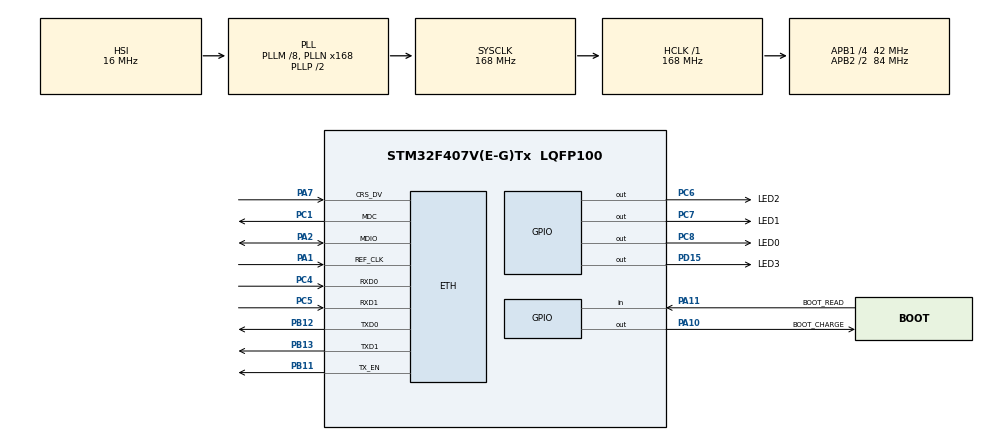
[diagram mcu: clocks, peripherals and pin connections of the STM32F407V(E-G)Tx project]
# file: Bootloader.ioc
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ETH.MediaInterface=HAL_ETH_RMII_MODE
ETH.PHY_DUPLEX_STATUS=0x0010
ETH.PHY_ISFR_INT4=0x0010
ETH.PHY_Name_RMII=LAN8742A_PHY_ADDRESS
ETH.PHY_SPEED_STATUS=0x0004
ETH.PHY_SR=0x1F
ETH.PhyAddress=0
FREERTOS.Tasks01=defaultTask,-2,128,StartDefaultTask,Default,NULL,Dynamic,NULL,NULL
FREERTOS.configMAX_PRIORITIES=16
FREERTOS.configMINIMAL_STACK_SIZE=128
FREERTOS.configUSE_NEWLIB_REENTRANT=1
LWIP.BSP.number=1
LWIP.GATEWAY_ADDRESS=192.168.050.001
LWIP.IP_ADDRESS=192.168.050.010
LWIP.LWIP_DHCP=0
LWIP.LWIP_HTTPD=0
LWIP.LWIP_STATS=1
LWIP.LWIP_TFTP=0
LWIP.NETMASK_ADDRESS=255.255.255.000
LWIP.Version=v2.1.2_Cube
LWIP0.BSP.STBoard=false
LWIP0.BSP.api=BSP_COMPONENT_DRIVER
LWIP0.BSP.component=LAN8742
LWIP0.BSP.instance=LAN8742
LWIP0.BSP.name=Driver_PHY
LWIP0.BSP.semaphore=S_LAN8742
LWIP0.BSP.solution=LAN8742
Mcu.Family=STM32F4
Mcu.Name=STM32F407V(E-G)Tx
Mcu.Package=LQFP100
NVIC.ETH_IRQn=true\:5\:0\:false\:false\:true\:true\:false\:true\:true
NVIC.PriorityGroup=NVIC_PRIORITYGROUP_4
NVIC.TIM6_DAC_IRQn=true\:15\:0\:false\:false\:true\:false\:false\:true\:true
NVIC.TimeBase=TIM6_DAC_IRQn
NVIC.TimeBaseIP=TIM6
PA1.Mode=RMII
PA1.Signal=ETH_REF_CLK
PA10.GPIO_Label=BOOT_CHARGE
PA10.Signal=GPIO_Output
PA11.GPIO_Label=BOOT_READ
PA11.Signal=GPIO_Input
PA13.Mode=Trace_Asynchronous_SW
PA13.Signal=SYS_JTMS-SWDIO
PA14.Mode=Trace_Asynchronous_SW
PA14.Signal=SYS_JTCK-SWCLK
PA2.Mode=RMII
PA2.Signal=ETH_MDIO
PA7.Mode=RMII
PA7.Signal=ETH_CRS_DV
PB11.Mode=RMII
PB11.Signal=ETH_TX_EN
PB12.Mode=RMII
PB12.Signal=ETH_TXD0
PB13.Mode=RMII
PB13.Signal=ETH_TXD1
PB3.Mode=Trace_Asynchronous_SW
PB3.Signal=SYS_JTDO-SWO
PC1.Mode=RMII
PC1.Signal=ETH_MDC
PC4.Mode=RMII
PC4.Signal=ETH_RXD0
PC5.Mode=RMII
PC5.Signal=ETH_RXD1
PC6.GPIO_Label=LED2
PC6.Signal=GPIO_Output
PC7.GPIO_Label=LED1
PC7.Signal=GPIO_Output
PC8.GPIO_Label=LED0
PC8.Signal=GPIO_Output
PD15.GPIO_Label=LED3
PD15.Signal=GPIO_Output
PH0-OSC_IN.Mode=HSE-External-Clock-Source
PH0-OSC_IN.Signal=RCC_OSC_IN
PH1-OSC_OUT.Mode=HSE-External-Clock-Source
PH1-OSC_OUT.Signal=RCC_OSC_OUT
ProjectManager.HeapSize=0x10000
ProjectManager.StackSize=0x400
ProjectManager.TargetToolchain=STM32CubeIDE
RCC.48MHZClocksFreq_Value=84000000
RCC.AHBFreq_Value=168000000
RCC.APB1CLKDivider=RCC_HCLK_DIV4
RCC.APB1Freq_Value=42000000
RCC.APB1TimFreq_Value=84000000
RCC.APB2CLKDivider=RCC_HCLK_DIV2
RCC.APB2Freq_Value=84000000
RCC.APB2TimFreq_Value=168000000
RCC.CortexFreq_Value=168000000
RCC.HCLKFreq_Value=168000000
RCC.HSE_VALUE=50000000
RCC.HSI_VALUE=16000000
RCC.LSE_VALUE=32768
RCC.PLLM=8
RCC.PLLN=168
RCC.SYSCLKFreq_VALUE=168000000
RCC.SYSCLKSource=RCC_SYSCLKSOURCE_PLLCLK
RCC.VCOOutputFreq_Value=336000000
VP_FREERTOS_VS_CMSIS_V1.Mode=CMSIS_V1
VP_LWIP_VS_Enabled.Mode=Enabled
VP_RTC_VS_RTC_Activate.Mode=RTC_Enabled
VP_SYS_VS_tim6.Mode=TIM6
board=custom

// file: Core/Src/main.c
/* USER CODE BEGIN Header */
/**
 ******************************************************************************
 * @file           : main.c
 * @brief          : Main program body
 ******************************************************************************
 * @attention
 *
 * Copyright (c) 2023 STMicroelectronics.
 * All rights reserved.
 *
 * This software is licensed under terms that can be found in the LICENSE file
 * in the root directory of this software component.
 * If no LICENSE file comes with this software, it is provided AS-IS.
 *
 ******************************************************************************
 */
/* USER CODE END Header */
#include "main.h"
#include "cmsis_os.h"
#include "tftpserver.h"
#include "lwip.h"

/* USER CODE BEGIN PTD */
typedef  void (*pFunction)(void);
/* USER CODE END PTD */

RTC_HandleTypeDef hrtc;

osThreadId defaultTaskHandle;
/* USER CODE BEGIN PV */
osThreadId tcpTaskHandle;
osThreadId tftpTaskHandle;

pFunction Jump_To_Application;
uint32_t JumpAddress;

/* USER CODE END PV */

void SystemClock_Config(void);
static void MX_GPIO_Init(void);
static void MX_RTC_Init(void);

void deinitEverything(void);

void StartDefaultTask(void const *argument);
void StartTCPTask(void const *argument);
void StartTFTPTask(void const *argument);

/* USER CODE BEGIN PFP */
extern void tcpdev_recv_cmd();
/* USER CODE END PFP */

int main(void) {

	/* MCU Configuration--------------------------------------------------------*/

	/* Reset of all peripherals, Initializes the Flash interface and the Systick. */
	HAL_Init();

	/* Configure the system clock */
	SystemClock_Config();

	/* Initialize all configured peripherals */
	MX_GPIO_Init();
	MX_RTC_Init();
	/* USER CODE BEGIN 2 */

	/*
	 *  Check IAP Flag, enter Ethernet Bootloader routine if set
	 *  Set: 0xDEE2
	 */
	if (HAL_RTCEx_BKUPRead(&hrtc, RTC_BKP_DR1) != 0xDEE2) {
		/* Check if valid stack address (RAM address) then jump to user application */
//		if (((*(__IO uint32_t*)USER_FLASH_FIRST_PAGE_ADDRESS) & 0x2FFE0000 ) == 0x20000000)
//		{
		  /* Jump to user application */
		  JumpAddress = *(__IO uint32_t*) (USER_FLASH_FIRST_PAGE_ADDRESS + 4);
		  Jump_To_Application = (pFunction) JumpAddress;
		  /* Initialize user application's Stack Pointer */
		  __set_MSP(*(__IO uint32_t*) USER_FLASH_FIRST_PAGE_ADDRESS);

		  deinitEverything();

		  Jump_To_Application();
		  /* do nothing */
		  while(1);
//		} else {
//			// Bad Software
//			//Turn ON LED2
//			HAL_GPIO_WritePin(LED2_GPIO_Port, LED2_Pin, GPIO_PIN_SET);
//		}

	}

	// Else enter IAP Routine

	// Clear Back Up Register 1 Data
	HAL_PWR_EnableBkUpAccess();
	// Clears IAP Flag in RTC Backup data Register 1
	HAL_RTCEx_BKUPWrite(&hrtc, RTC_BKP_DR1, 0x0000);
	HAL_PWR_DisableBkUpAccess();

	//Turn ON LED3
	HAL_GPIO_WritePin(LED3_GPIO_Port, LED3_Pin, GPIO_PIN_SET);

	/* USER CODE END 2 */

	/* Create the thread(s) */
	/* definition and creation of defaultTask */
	osThreadDef(defaultTask, StartDefaultTask, osPriorityLow, 0, 128);
	defaultTaskHandle = osThreadCreate(osThread(defaultTask), NULL);

	/* USER CODE BEGIN RTOS_THREADS */

	osThreadDef(tftpTask, StartTFTPTask, osPriorityNormal, 0, 256);
	tftpTaskHandle = osThreadCreate(osThread(tftpTask), NULL);
	/* USER CODE END RTOS_THREADS */

	/* Start scheduler */
	osKernelStart();

	/* We should never get here as control is now taken by the scheduler */
	/* Infinite loop */
	while (1) {

	}
}

void SystemClock_Config(void) {
	RCC_OscInitTypeDef RCC_OscInitStruct = { 0 };
	RCC_ClkInitTypeDef RCC_ClkInitStruct = { 0 };

	/** Configure the main internal regulator output voltage
	 */
	__HAL_RCC_PWR_CLK_ENABLE();
	__HAL_PWR_VOLTAGESCALING_CONFIG(PWR_REGULATOR_VOLTAGE_SCALE1);

	/** Initializes the RCC Oscillators according to the specified parameters
	 * in the RCC_OscInitTypeDef structure.
	 */
	RCC_OscInitStruct.OscillatorType = RCC_OSCILLATORTYPE_HSI
			| RCC_OSCILLATORTYPE_LSI;
	RCC_OscInitStruct.HSIState = RCC_HSI_ON;
	RCC_OscInitStruct.HSICalibrationValue = RCC_HSICALIBRATION_DEFAULT;
	RCC_OscInitStruct.LSIState = RCC_LSI_ON;
	RCC_OscInitStruct.PLL.PLLState = RCC_PLL_ON;
	RCC_OscInitStruct.PLL.PLLSource = RCC_PLLSOURCE_HSI;
	RCC_OscInitStruct.PLL.PLLM = 8;
	RCC_OscInitStruct.PLL.PLLN = 168;
	RCC_OscInitStruct.PLL.PLLP = RCC_PLLP_DIV2;
	RCC_OscInitStruct.PLL.PLLQ = 4;
	if (HAL_RCC_OscConfig(&RCC_OscInitStruct) != HAL_OK) {
		Error_Handler();
	}

	/** Initializes the CPU, AHB and APB buses clocks
	 */
	RCC_ClkInitStruct.ClockType = RCC_CLOCKTYPE_HCLK | RCC_CLOCKTYPE_SYSCLK
			| RCC_CLOCKTYPE_PCLK1 | RCC_CLOCKTYPE_PCLK2;
	RCC_ClkInitStruct.SYSCLKSource = RCC_SYSCLKSOURCE_PLLCLK;
	RCC_ClkInitStruct.AHBCLKDivider = RCC_SYSCLK_DIV1;
	RCC_ClkInitStruct.APB1CLKDivider = RCC_HCLK_DIV4;
	RCC_ClkInitStruct.APB2CLKDivider = RCC_HCLK_DIV2;

	if (HAL_RCC_ClockConfig(&RCC_ClkInitStruct, FLASH_LATENCY_5) != HAL_OK) {
		Error_Handler();
	}
}

static void MX_RTC_Init(void) {

	/** Initialize RTC Only
	 */
	hrtc.Instance = RTC;
	hrtc.Init.HourFormat = RTC_HOURFORMAT_24;
	hrtc.Init.AsynchPrediv = 127;
	hrtc.Init.SynchPrediv = 255;
	hrtc.Init.OutPut = RTC_OUTPUT_DISABLE;
	hrtc.Init.OutPutPolarity = RTC_OUTPUT_POLARITY_HIGH;
	hrtc.Init.OutPutType = RTC_OUTPUT_TYPE_OPENDRAIN;
	if (HAL_RTC_Init(&hrtc) != HAL_OK) {
		Error_Handler();
	}

}

static void MX_GPIO_Init(void) {
	GPIO_InitTypeDef GPIO_InitStruct = { 0 };

	/* GPIO Ports Clock Enable */
	__HAL_RCC_GPIOH_CLK_ENABLE();
	__HAL_RCC_GPIOC_CLK_ENABLE();
	__HAL_RCC_GPIOA_CLK_ENABLE();
	__HAL_RCC_GPIOB_CLK_ENABLE();
	__HAL_RCC_GPIOD_CLK_ENABLE();

	/*Configure GPIO pin Output Level */
	HAL_GPIO_WritePin(LED3_GPIO_Port, LED3_Pin, GPIO_PIN_RESET);

	/*Configure GPIO pin Output Level */
	HAL_GPIO_WritePin(GPIOC, LED2_Pin | LED1_Pin | LED0_Pin, GPIO_PIN_RESET);

	/*Configure GPIO pin Output Level */
	HAL_GPIO_WritePin(BOOT_CHARGE_GPIO_Port, BOOT_CHARGE_Pin, GPIO_PIN_RESET);

	/*Configure GPIO pin : LED3_Pin */
	GPIO_InitStruct.Pin = LED3_Pin;
	GPIO_InitStruct.Mode = GPIO_MODE_OUTPUT_PP;
	GPIO_InitStruct.Pull = GPIO_NOPULL;
	GPIO_InitStruct.Speed = GPIO_SPEED_FREQ_LOW;
	HAL_GPIO_Init(LED3_GPIO_Port, &GPIO_InitStruct);

	/*Configure GPIO pins : LED2_Pin LED1_Pin LED0_Pin */
	GPIO_InitStruct.Pin = LED2_Pin | LED1_Pin | LED0_Pin;
	GPIO_InitStruct.Mode = GPIO_MODE_OUTPUT_PP;
	GPIO_InitStruct.Pull = GPIO_NOPULL;
	GPIO_InitStruct.Speed = GPIO_SPEED_FREQ_LOW;
	HAL_GPIO_Init(GPIOC, &GPIO_InitStruct);

	/*Configure GPIO pin : BOOT_CHARGE_Pin */
	GPIO_InitStruct.Pin = BOOT_CHARGE_Pin;
	GPIO_InitStruct.Mode = GPIO_MODE_OUTPUT_PP;
	GPIO_InitStruct.Pull = GPIO_NOPULL;
	GPIO_InitStruct.Speed = GPIO_SPEED_FREQ_LOW;
	HAL_GPIO_Init(BOOT_CHARGE_GPIO_Port, &GPIO_InitStruct);

	/*Configure GPIO pin : BOOT_READ_Pin */
	GPIO_InitStruct.Pin = BOOT_READ_Pin;
	GPIO_InitStruct.Mode = GPIO_MODE_INPUT;
	GPIO_InitStruct.Pull = GPIO_NOPULL;
	HAL_GPIO_Init(BOOT_READ_GPIO_Port, &GPIO_InitStruct);

}

/* USER CODE END Header_StartTFTPTask */
void StartTFTPTask(void const *argument) {

	/* init code for LWIP */
	MX_LWIP_Init();

	IAP_tftpd_init();

	/* Infinite loop */
	for (;;) {
		osDelay(1);
	}
}

void deinitEverything()
{
	//-- reset peripherals to guarantee flawless start of user application
	HAL_GPIO_DeInit(LED0_GPIO_Port, LED0_Pin);
	HAL_GPIO_DeInit(LED1_GPIO_Port, LED1_Pin);
	HAL_GPIO_DeInit(LED2_GPIO_Port, LED2_Pin);
	HAL_GPIO_DeInit(LED3_GPIO_Port, LED3_Pin);
	HAL_RCC_DeInit();
	HAL_DeInit();
	SysTick->CTRL = 0;
	SysTick->LOAD = 0;
	SysTick->VAL = 0;
}

/* USER CODE END 4 */

void StartDefaultTask(void const *argument) {
	/* USER CODE BEGIN 5 */

	/* Infinite loop */
	for (;;) {
		/*
		 *  Heartbeat LED0
		 */
		HAL_GPIO_TogglePin(LED0_GPIO_Port, LED0_Pin);
		osDelay(500);
	}
	/* USER CODE END 5 */
}

void HAL_TIM_PeriodElapsedCallback(TIM_HandleTypeDef *htim) {
	if (htim->Instance == TIM6) {
		HAL_IncTick();
	}
}

void Error_Handler(void) {
	__disable_irq();
	while (1) {
	}
}
